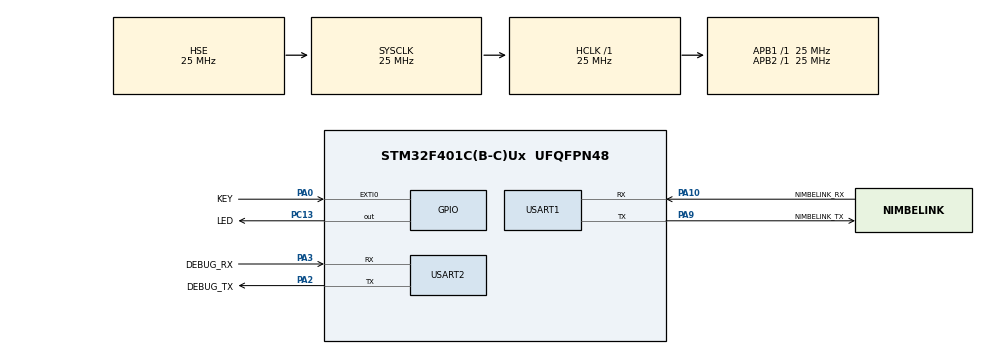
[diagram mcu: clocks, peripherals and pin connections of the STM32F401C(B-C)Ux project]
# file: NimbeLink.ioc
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FREERTOS.Tasks01=defaultTask,0,128,StartDefaultTask,Default,NULL
Mcu.Family=STM32F4
Mcu.Name=STM32F401C(B-C)Ux
Mcu.Package=UFQFPN48
NVIC.EXTI0_IRQn=true\:5\:0\:false\:false\:true\:true\:true
NVIC.PriorityGroup=NVIC_PRIORITYGROUP_4
NVIC.TIM1_UP_TIM10_IRQn=true\:0\:0\:false\:false\:true\:false\:false
NVIC.TimeBase=TIM1_UP_TIM10_IRQn
NVIC.TimeBaseIP=TIM1
NVIC.USART1_IRQn=true\:5\:0\:false\:false\:false\:true\:true
NVIC.USART2_IRQn=true\:5\:0\:false\:false\:true\:true\:true
PA0-WKUP.GPIO_Label=KEY
PA0-WKUP.GPIO_ModeDefaultEXTI=GPIO_MODE_IT_RISING
PA0-WKUP.GPIO_PuPd=GPIO_PULLUP
PA0-WKUP.Signal=GPXTI0
PA10.GPIO_Label=NIMBELINK_RX
PA10.Mode=Asynchronous
PA10.Signal=USART1_RX
PA13.Mode=Serial_Wire
PA13.Signal=SYS_JTMS-SWDIO
PA14.Mode=Serial_Wire
PA14.Signal=SYS_JTCK-SWCLK
PA2.GPIO_Label=DEBUG_TX
PA2.Mode=Asynchronous
PA2.Signal=USART2_TX
PA3.GPIO_Label=DEBUG_RX
PA3.Mode=Asynchronous
PA3.Signal=USART2_RX
PA9.GPIO_Label=NIMBELINK_TX
PA9.Mode=Asynchronous
PA9.Signal=USART1_TX
PC13-ANTI_TAMP.GPIO_Label=LED
PC13-ANTI_TAMP.PinState=GPIO_PIN_RESET
PC13-ANTI_TAMP.Signal=GPIO_Output
PC14-OSC32_IN.Mode=LSE-External-Oscillator
PC14-OSC32_IN.Signal=RCC_OSC32_IN
PC15-OSC32_OUT.Mode=LSE-External-Oscillator
PC15-OSC32_OUT.Signal=RCC_OSC32_OUT
PH0\ -\ OSC_IN.Mode=HSE-External-Oscillator
PH0\ -\ OSC_IN.Signal=RCC_OSC_IN
PH1\ -\ OSC_OUT.Mode=HSE-External-Oscillator
PH1\ -\ OSC_OUT.Signal=RCC_OSC_OUT
ProjectManager.HeapSize=0x200
ProjectManager.StackSize=0x400
ProjectManager.TargetToolchain=EWARM V7
RCC.48MHZClocksFreq_Value=75000000
RCC.AHBFreq_Value=25000000
RCC.APB1Freq_Value=25000000
RCC.APB1TimFreq_Value=25000000
RCC.APB2Freq_Value=25000000
RCC.APB2TimFreq_Value=25000000
RCC.CortexFreq_Value=25000000
RCC.HCLKFreq_Value=25000000
RCC.HSE_VALUE=25000000
RCC.HSI_VALUE=16000000
RCC.PLLSourceVirtual=RCC_PLLSOURCE_HSE
RCC.SYSCLKFreq_VALUE=25000000
RCC.SYSCLKSource=RCC_SYSCLKSOURCE_HSE
RCC.VCOOutputFreq_Value=300000000
USART1.VirtualMode=VM_ASYNC
USART2.VirtualMode=VM_ASYNC
VP_FREERTOS_VS_ENABLE.Mode=Enabled
VP_SYS_VS_tim1.Mode=TIM1
board=custom

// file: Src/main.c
/**
  ******************************************************************************
  * @file           : main.c
  * @brief          : Main program body
  ******************************************************************************
  * This notice applies to any and all portions of this file
  * that are not between comment pairs USER CODE BEGIN and
  * USER CODE END. Other portions of this file, whether
  * inserted by the user or by software development tools
  * are owned by their respective copyright owners.
  *
  * Copyright (c) 2023 STMicroelectronics International N.V.
  * All rights reserved.
  *
  * Redistribution and use in source and binary forms, with or without
  * modification, are permitted, provided that the following conditions are met:
  *
  * 1. Redistribution of source code must retain the above copyright notice,
  *    this list of conditions and the following disclaimer.
  * 2. Redistributions in binary form must reproduce the above copyright notice,
  *    this list of conditions and the following disclaimer in the documentation
  *    and/or other materials provided with the distribution.
  * 3. Neither the name of STMicroelectronics nor the names of other
  *    contributors to this software may be used to endorse or promote products
  *    derived from this software without specific written permission.
  * 4. This software, including modifications and/or derivative works of this
  *    software, must execute solely and exclusively on microcontroller or
  *    microprocessor devices manufactured by or for STMicroelectronics.
  * 5. Redistribution and use of this software other than as permitted under
  *    this license is void and will automatically terminate your rights under
  *    this license.
  *
  * THIS SOFTWARE IS PROVIDED BY STMICROELECTRONICS AND CONTRIBUTORS "AS IS"
  * AND ANY EXPRESS, IMPLIED OR STATUTORY WARRANTIES, INCLUDING, BUT NOT
  * LIMITED TO, THE IMPLIED WARRANTIES OF MERCHANTABILITY, FITNESS FOR A
  * PARTICULAR PURPOSE AND NON-INFRINGEMENT OF THIRD PARTY INTELLECTUAL PROPERTY
  * RIGHTS ARE DISCLAIMED TO THE FULLEST EXTENT PERMITTED BY LAW. IN NO EVENT
  * SHALL STMICROELECTRONICS OR CONTRIBUTORS BE LIABLE FOR ANY DIRECT, INDIRECT,
  * INCIDENTAL, SPECIAL, EXEMPLARY, OR CONSEQUENTIAL DAMAGES (INCLUDING, BUT NOT
  * LIMITED TO, PROCUREMENT OF SUBSTITUTE GOODS OR SERVICES; LOSS OF USE, DATA,
  * OR PROFITS; OR BUSINESS INTERRUPTION) HOWEVER CAUSED AND ON ANY THEORY OF
  * LIABILITY, WHETHER IN CONTRACT, STRICT LIABILITY, OR TORT (INCLUDING
  * NEGLIGENCE OR OTHERWISE) ARISING IN ANY WAY OUT OF THE USE OF THIS SOFTWARE,
  * EVEN IF ADVISED OF THE POSSIBILITY OF SUCH DAMAGE.
  *
  ******************************************************************************
  */
#include "main.h"
#include "stm32f4xx_hal.h"
#include "cmsis_os.h"

/* USER CODE BEGIN Includes */
#include "string.h"
#include "stdarg.h"

#include "nimbelink.h"

static uint8_t debugBuffer[DBG_ELEM_SIZE];        /*Store data for use dprintf*/
uint8_t extern AppReadyFlag;
extern uint8_t NIB_Test_Enable_f;

/* USER CODE END Includes */

UART_HandleTypeDef huart1;
UART_HandleTypeDef huart2;

osThreadId defaultTaskHandle;

/* USER CODE BEGIN PV */
/* Private variables ---------------------------------------------------------*/

/* USER CODE END PV */

void SystemClock_Config(void);
static void MX_GPIO_Init(void);
static void MX_USART1_UART_Init(void);
static void MX_USART2_UART_Init(void);
void StartDefaultTask(void const * argument);

/* USER CODE BEGIN PFP */
/* Private function prototypes -----------------------------------------------*/

/* USER CODE END PFP */

int main(void)
{

  /* MCU Configuration----------------------------------------------------------*/

  /* Reset of all peripherals, Initializes the Flash interface and the Systick. */
  HAL_Init();

  /* Configure the system clock */
  SystemClock_Config();

  /* Initialize all configured peripherals */
  MX_GPIO_Init();
  MX_USART1_UART_Init();
  MX_USART2_UART_Init();
  /* USER CODE BEGIN 2 */
  dprintf("Device started");

  // enable interrupt for UART1 received data
  __HAL_UART_ENABLE_IT(&huart1,UART_IT_RXNE);
  __HAL_UART_ENABLE_IT(&huart2,UART_IT_RXNE);
  /* USER CODE END 2 */

  /* Create the thread(s) */
  /* definition and creation of defaultTask */
  osThreadDef(defaultTask, StartDefaultTask, osPriorityNormal, 0, 128);
  defaultTaskHandle = osThreadCreate(osThread(defaultTask), NULL);

  /* Start scheduler */
  osKernelStart();

  /* We should never get here as control is now taken by the scheduler */

  /* Infinite loop */
  while (1)
  {

  }

}

void SystemClock_Config(void)
{

  RCC_OscInitTypeDef RCC_OscInitStruct;
  RCC_ClkInitTypeDef RCC_ClkInitStruct;

    /**Configure the main internal regulator output voltage
    */
  __HAL_RCC_PWR_CLK_ENABLE();

  __HAL_PWR_VOLTAGESCALING_CONFIG(PWR_REGULATOR_VOLTAGE_SCALE2);

    /**Initializes the CPU, AHB and APB busses clocks
    */
  RCC_OscInitStruct.OscillatorType = RCC_OSCILLATORTYPE_HSE;
  RCC_OscInitStruct.HSEState = RCC_HSE_ON;
  RCC_OscInitStruct.PLL.PLLState = RCC_PLL_NONE;
  if (HAL_RCC_OscConfig(&RCC_OscInitStruct) != HAL_OK)
  {
    _Error_Handler(__FILE__, __LINE__);
  }

    /**Initializes the CPU, AHB and APB busses clocks
    */
  RCC_ClkInitStruct.ClockType = RCC_CLOCKTYPE_HCLK|RCC_CLOCKTYPE_SYSCLK
                              |RCC_CLOCKTYPE_PCLK1|RCC_CLOCKTYPE_PCLK2;
  RCC_ClkInitStruct.SYSCLKSource = RCC_SYSCLKSOURCE_HSE;
  RCC_ClkInitStruct.AHBCLKDivider = RCC_SYSCLK_DIV1;
  RCC_ClkInitStruct.APB1CLKDivider = RCC_HCLK_DIV1;
  RCC_ClkInitStruct.APB2CLKDivider = RCC_HCLK_DIV1;

  if (HAL_RCC_ClockConfig(&RCC_ClkInitStruct, FLASH_LATENCY_0) != HAL_OK)
  {
    _Error_Handler(__FILE__, __LINE__);
  }

    /**Configure the Systick interrupt time
    */
  HAL_SYSTICK_Config(HAL_RCC_GetHCLKFreq()/1000);

    /**Configure the Systick
    */
  HAL_SYSTICK_CLKSourceConfig(SYSTICK_CLKSOURCE_HCLK);

  /* SysTick_IRQn interrupt configuration */
  HAL_NVIC_SetPriority(SysTick_IRQn, 15, 0);
}

/* USART1 init function */
static void MX_USART1_UART_Init(void)
{

  huart1.Instance = USART1;
  huart1.Init.BaudRate = 115200;
  huart1.Init.WordLength = UART_WORDLENGTH_8B;
  huart1.Init.StopBits = UART_STOPBITS_1;
  huart1.Init.Parity = UART_PARITY_NONE;
  huart1.Init.Mode = UART_MODE_TX_RX;
  huart1.Init.HwFlowCtl = UART_HWCONTROL_NONE;
  huart1.Init.OverSampling = UART_OVERSAMPLING_16;
  if (HAL_UART_Init(&huart1) != HAL_OK)
  {
    _Error_Handler(__FILE__, __LINE__);
  }

}

/* USART2 init function */
static void MX_USART2_UART_Init(void)
{

  huart2.Instance = USART2;
  huart2.Init.BaudRate = 115200;
  huart2.Init.WordLength = UART_WORDLENGTH_8B;
  huart2.Init.StopBits = UART_STOPBITS_1;
  huart2.Init.Parity = UART_PARITY_NONE;
  huart2.Init.Mode = UART_MODE_TX_RX;
  huart2.Init.HwFlowCtl = UART_HWCONTROL_NONE;
  huart2.Init.OverSampling = UART_OVERSAMPLING_16;
  if (HAL_UART_Init(&huart2) != HAL_OK)
  {
    _Error_Handler(__FILE__, __LINE__);
  }

}

/** Configure pins as
        * Analog
        * Input
        * Output
        * EVENT_OUT
        * EXTI
*/
static void MX_GPIO_Init(void)
{

  GPIO_InitTypeDef GPIO_InitStruct;

  /* GPIO Ports Clock Enable */
  __HAL_RCC_GPIOC_CLK_ENABLE();
  __HAL_RCC_GPIOH_CLK_ENABLE();
  __HAL_RCC_GPIOA_CLK_ENABLE();

  /*Configure GPIO pin Output Level */
  HAL_GPIO_WritePin(LED_GPIO_Port, LED_Pin, GPIO_PIN_RESET);

  /*Configure GPIO pin : LED_Pin */
  GPIO_InitStruct.Pin = LED_Pin;
  GPIO_InitStruct.Mode = GPIO_MODE_OUTPUT_PP;
  GPIO_InitStruct.Pull = GPIO_NOPULL;
  GPIO_InitStruct.Speed = GPIO_SPEED_FREQ_LOW;
  HAL_GPIO_Init(LED_GPIO_Port, &GPIO_InitStruct);

  /*Configure GPIO pin : KEY_Pin */
  GPIO_InitStruct.Pin = KEY_Pin;
  GPIO_InitStruct.Mode = GPIO_MODE_IT_RISING;
  GPIO_InitStruct.Pull = GPIO_PULLUP;
  HAL_GPIO_Init(KEY_GPIO_Port, &GPIO_InitStruct);

  /* EXTI interrupt init*/
  HAL_NVIC_SetPriority(EXTI0_IRQn, 5, 0);
  HAL_NVIC_EnableIRQ(EXTI0_IRQn);

}

/* USER CODE BEGIN 4 */
/*************************************************************************
* Function Name: debugf for print arguments
* Parameters:
*
*
* Return:
*
* Description:
*
*************************************************************************/
//int debugf(DebugLogLevelType logLevel, const char *format, ...)
int debugf(const char *format, ...)
{
  uint8_t len;
  va_list ap;

  va_start(ap, format);
  // this function used for store charater of array value into buffer and find length of buffer
  len = vsnprintf((char *)debugBuffer , sizeof(debugBuffer)-2, format, ap);
  /* vsnprintf Return Value
  The number of characters that would have been written if n had been
  sufficiently large, not counting the terminating null character.
  If an encoding error occurs, a negative number is returned.
  Notice that only when this returned value is non-negative and less than n,
  the string has been completely written.

  From the above explanation, vsnprintf return value can exceed the buffer
  limit. So, check length before use
  */
  len = len > sizeof(debugBuffer)-2 ? sizeof(debugBuffer)-2 : len;

  strcpy((char *)debugBuffer+len, "\r\n");
  len += 2;
  va_end(ap);
  /*Now uart 4 connected to Debug*/
  HAL_UART_Transmit(&huart2, (uint8_t *) debugBuffer , len, 1000);
  return len;
}

/* USER CODE END 4 */

void StartDefaultTask(void const * argument)
{

  /* USER CODE BEGIN 5 */

  /* Infinite loop */
  for(;;)
  {
    NIB_powerOn();

//    if(NIB_Test_Enable_f == TRUE && AppReadyFlag == 1)
//    {
//      NIB_CMD_Process();
//      NIB_Test_Enable_f = FALSE;
//    }
    osDelay(1);
  }
  /* USER CODE END 5 */
}

void HAL_TIM_PeriodElapsedCallback(TIM_HandleTypeDef *htim)
{
  if (htim->Instance == TIM1) {
    HAL_IncTick();
  }
}

void _Error_Handler(char *file, int line)
{
  while(1)
  {
  }
}

/************************ (C) COPYRIGHT STMicroelectronics *****END OF FILE****/
